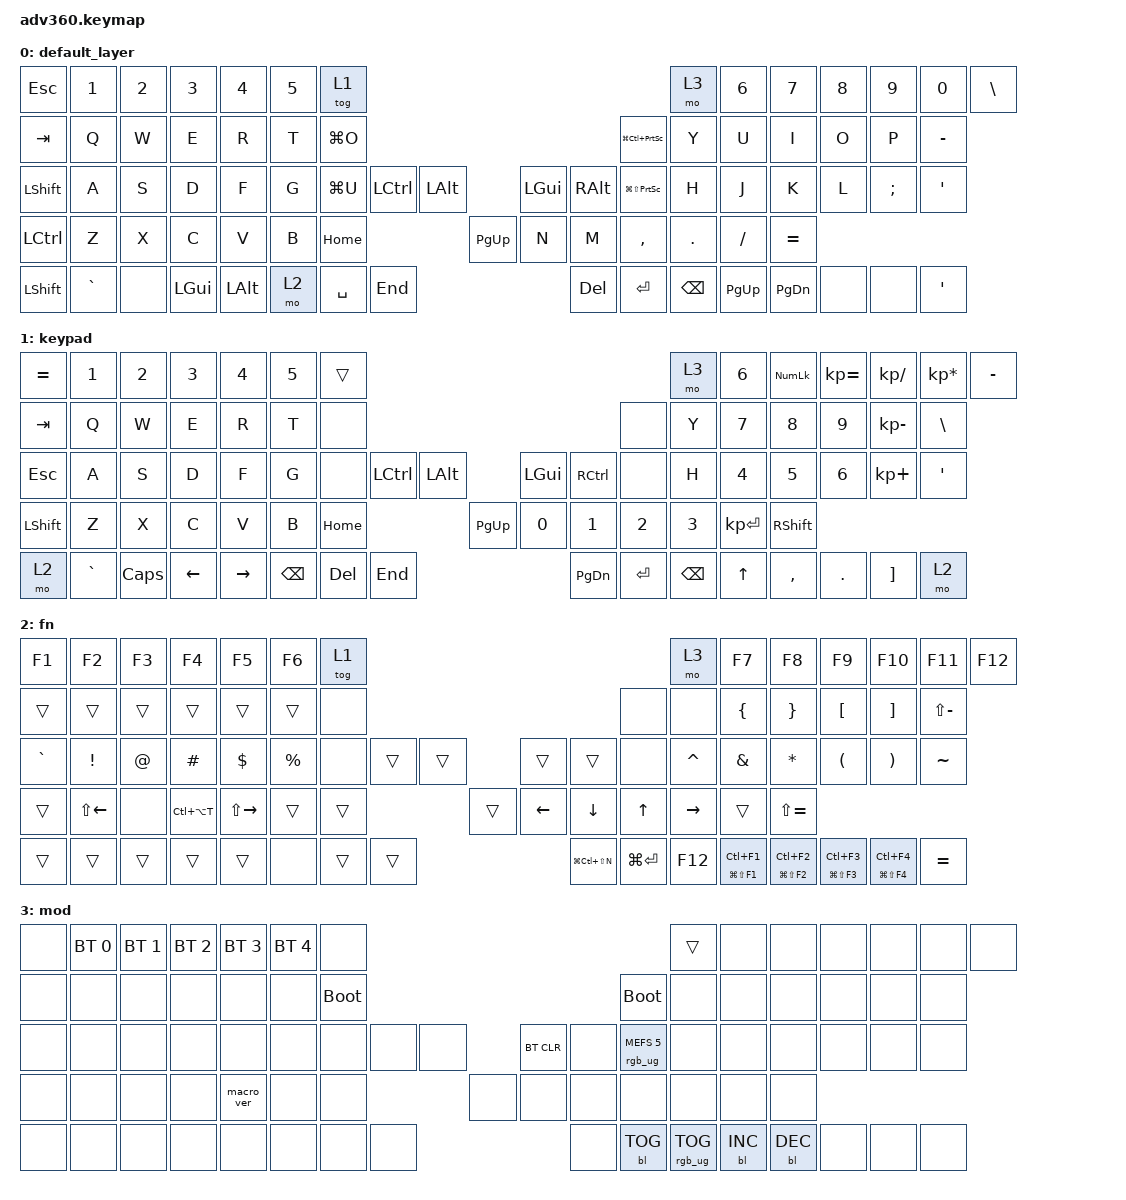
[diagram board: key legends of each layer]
#include <behaviors.dtsi>
#include <dt-bindings/zmk/keys.h>
#include <dt-bindings/zmk/bt.h>
#include <dt-bindings/zmk/rgb.h>
#include <dt-bindings/zmk/backlight.h>

/ {
    behaviors {
      #include "macros.dtsi"
      #include "version.dtsi"
      #ifndef VERSION_MACRO
      macro_ver: macro_ver {
        compatible = "zmk,behavior-macro";
        label = "macro_version";
        #binding-cells = <0>;
        bindings = <&kp RET>;
      };
      #endif

      hm: homerow_mods {
          compatible = "zmk,behavior-hold-tap";
          label = "HOMEROW_MODS";
          #binding-cells = <2>;
          tapping-term-ms = <150>;
          quick_tap_ms = <100>;
          flavor = "tap-preferred";
          bindings = <&kp>, <&kp>;
      };
    };

  keymap {
    compatible = "zmk,keymap";

    default_layer {
      bindings = <
        &kp ESC &kp N1    &kp N2   &kp N3   &kp N4     &kp N5 &tog 1                                                                       &mo 3 &kp N6 &kp N7 &kp N8    &kp N9   &kp N0   &kp BSLH
        &kp TAB   &kp Q     &kp W    &kp E    &kp R      &kp T  &kp LG(O)                                                                       &kp LG(LC(PSCRN)) &kp Y  &kp U  &kp I     &kp O    &kp P    &kp MINUS
        &kp LSHIFT &kp A     &kp S    &kp D    &kp F      &kp G  &kp LG(U)           &kp LCTRL &kp LALT             &kp LGUI  &kp RALT           &kp LG(LS(PSCRN)) &kp H  &kp J  &kp K     &kp L    &kp SEMI &kp SQT
        &kp LCTRL &kp Z     &kp X    &kp C    &kp V      &kp B              &kp HOME  &kp PG_UP            &kp N  &kp M  &kp COMMA &kp DOT  &kp FSLH &kp EQUAL
        &kp LSHIFT &kp GRAVE &none &kp LGUI &kp LALT                &mo 2 &kp SPACE   &kp END              &kp DEL &kp ENTER &kp BSPC              &kp PG_UP &kp PG_DN  &none &none &kp SQT
      >;
    };
    keypad {
      bindings = <
        &kp EQUAL &kp N1    &kp N2   &kp N3   &kp N4     &kp N5 &trans                                                                       &mo 3 &kp N6 &kp KP_NUM &kp KP_EQUAL &kp KP_DIVIDE &kp KP_MULTIPLY &kp MINUS
        &kp TAB   &kp Q     &kp W    &kp E    &kp R      &kp T  &none                                                                        &none &kp Y  &kp N7  &kp N8    &kp N9     &kp KP_MINUS    &kp BSLH
        &kp ESC   &kp A     &kp S    &kp D    &kp F      &kp G  &none           &kp LCTRL &kp LALT             &kp LGUI  &kp RCTRL           &none &kp H  &kp N4  &kp N5    &kp N6     &kp KP_PLUS     &kp SQT
        &kp LSHFT &kp Z     &kp X    &kp C    &kp V      &kp B              &kp HOME  &kp PG_UP            &kp N0  &kp N1  &kp N2   &kp N3     &kp KP_ENTER    &kp RSHFT
        &mo 2     &kp GRAVE &kp CAPS &kp LEFT &kp RIGHT                &kp BSPC &kp DEL   &kp END              &kp PG_DN &kp ENTER &kp BSPC              &kp UP     &kp COMMA  &kp DOT    &kp RBKT        &mo 2
      >;
    };
    fn {
      bindings = <
        &kp F1 &kp F2 &kp F3 &kp F4 &kp F5 &kp F6 &tog 1                                                       &mo 3 &kp F7 &kp F8 &kp F9 &kp F10 &kp F11 &kp F12
        &trans &trans &trans &trans &trans &trans  &none                                                       &none &none &kp LBRC &kp RBRC &kp LBKT  &kp RBKT  &kp LS(MINUS)
        &kp GRAVE &kp EXCL &kp AT &kp HASH &kp DOLLAR &kp PERCENT  &none        &trans &trans             &trans &trans    &none &kp CARET &kp AMPERSAND &kp ASTERISK &kp LPAR  &kp RPAR  &kp TILDE
        &trans &kp LS(LEFT) &none &kp LC(LA(T)) &kp LS(RIGHT) &trans          &trans  &trans         &kp LEFT &kp DOWN &kp UP &kp RIGHT  &trans  &kp LS(EQUAL)
        &trans &trans &trans &trans &trans               &none &trans &trans             &kp LG(LC(LS(N))) &kp LG(ENTER) &kp F12   &mt LG(LS(F1)) LC(F1) &mt LG(LS(F2)) LC(F2) &mt LG(LS(F3)) LC(F3)  &mt LG(LS(F4)) LC(F4)  &kp EQUAL
      >;
    };
mod {
      bindings = <
        &none &bt BT_SEL 0 &bt BT_SEL 1 &bt BT_SEL 2 &bt BT_SEL 3 &bt BT_SEL 4 &none                                                                     &trans                 &none        &none        &none        &none &none &none
        &none &none        &none        &none        &none        &none        &bootloader                                                               &bootloader            &none        &none        &none        &none &none &none
        &none &none        &none        &none        &none        &none        &none                   &none &none &bt BT_CLR &none                      &rgb_ug RGB_MEFS_CMD 5 &none        &none        &none        &none &none &none
        &none &none        &none        &none        &macro_ver   &none                                      &none &none                                                        &none        &none        &none        &none &none &none
        &none &none        &none        &none        &none                                       &none &none &none &none      &bl BL_TOG &rgb_ug RGB_TOG                                     &bl BL_INC   &bl BL_DEC   &none &none &none
      >;
    };
  };
};
